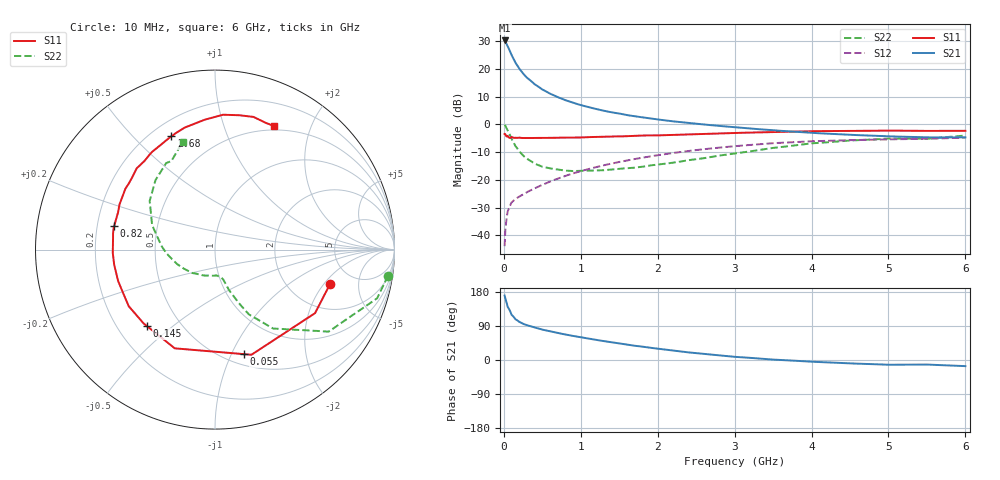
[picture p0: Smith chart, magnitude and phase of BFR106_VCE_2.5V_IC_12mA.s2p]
! Infineon Technologies  Discrete & RF Semiconductors
! BFR106
! VCE =  2.5 V,  IC =  12 mA
! Common Emitter S-Parameters:  Nov 2015
# GHz  S  MA  R  50
!  f  S11  S21  S12  S22
! GHz  MAG  ANG  MAG  ANG  MAG  ANG  MAG  ANG
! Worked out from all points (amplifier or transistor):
!   210 points, 10 MHz to 6 GHz, reference 50 ohm
!   highest |S21| = 30.2 dB at 10 MHz (marker M1)
!   |S21| within 3 dB of that: start of sweep to 65.21 MHz
!   unconditionally stable (mu >= 1): 452.8 MHz to 2.296 GHz; 5.007 GHz to end of sweep
!   at 185 MHz: K = 0.62, MSG = 23.5 dB, |S12| = -26.3 dB
!   at 1.52 GHz: K = 1.08, MAG = 6.9 dB, |S12| = -13.5 dB
!   at 6 GHz: K = 1.02, MAG = -0.7 dB, |S12| = -4.8 dB
!   S11 on the Smith chart (normalised r, x): 10 MHz: 3.34, -2.31; 55 MHz: 0.61, -1.12; 145 MHz: 0.32, -0.41; 820 MHz: 0.27, +0.11; 2.68 GHz: 0.28, +0.65; 6 GHz: 0.45, +1.49
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0.01  0.6691 -16.6  32.27 170.0  0.0064 84.4  0.975 -8.6
0.02  0.6604 -32.4  31.2 161.7  0.0127 75.6  0.9432 -16.7
0.05  0.6201 -70.9  25.49 140.1  0.027 60.7  0.7811 -35.8
0.055  0.604 -74.6  24.6 138.7  0.0282 59.2  0.7552 -37.1
0.1  0.5941 -112.2  17.68 119.5  0.0391 50.0  0.5465 -53.6
0.145  0.5706 -131.8  13.32 109.2  0.0445 46.4  0.4207 -61.3
0.15  0.5722 -134.0  12.87 107.6  0.0451 46.1  0.4074 -62.4
0.2  0.5749 -146.7  10.08 100.8  0.0499 47.0  0.3276 -65.9
0.24  0.5666 -153.9  8.546 96.7  0.0536 48.1  0.2831 -68.1
0.3  0.5674 -162.2  6.896 91.6  0.0599 50.5  0.2404 -70.8
0.4  0.568 -171.6  5.263 85.6  0.0702 54.1  0.1961 -73.0
0.5  0.5698 -178.1  4.234 80.2  0.0812 56.8  0.1723 -74.6
0.6  0.5693 176.3  3.564 75.6  0.0932 58.6  0.1607 -77.3
0.82  0.577 166.7  2.66 66.5  0.1203 60.6  0.1461 -84.9
1.02  0.58 158.3  2.177 59.1  0.1458 60.7  0.1456 -92.1
1.4  0.6036 145.8  1.641 46.8  0.1962 58.9  0.1538 -109.6
2.02  0.6324 128.0  1.212 29.4  0.2802 52.1  0.1898 -140.7
2.68  0.6767 111.0  0.968 14.5  0.3656 42.6  0.2557 -171.1
3.1  0.7038 102.1  0.862 7.1  0.4141 35.8  0.311 172.1
4.1  0.7534 85.3  0.689 -5.3  0.4988 19.5  0.4632 140.5
5.1  0.7675 72.8  0.601 -12.4  0.5379 5.8  0.5526 118.8
6  0.7627 64.5  0.582 -16.2  0.575 -4.3  0.6276 106.6
